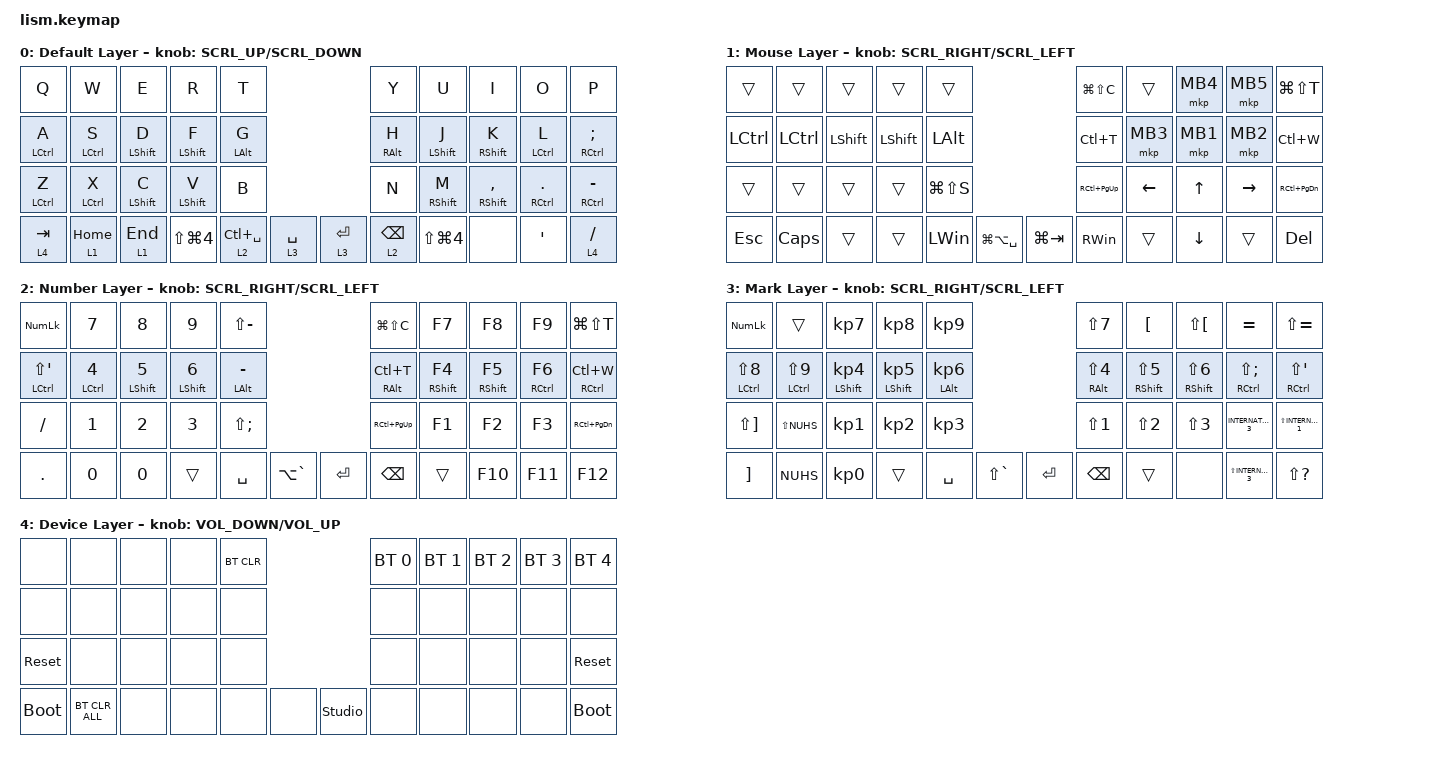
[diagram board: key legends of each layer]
#define ZMK_POINTING_DEFAULT_SCRL_VAL 200

#include <dt-bindings/zmk/mouse.h>
#include <behaviors.dtsi>
#include <dt-bindings/zmk/bt.h>
#include <dt-bindings/zmk/keys.h>
#include <dt-bindings/zmk/pointing.h>

&mt {
    tapping-term-ms = <300>;
    flavor = "balanced";
};

&lt { quick-tap-ms = <300>; };

/ {
    macros {
        DoubleCtrl: emoji_macro {
            compatible = "zmk,behavior-macro";
            label = "EMOJI";
            #binding-cells = <0>;
            bindings =
                <&macro_tap>,
                <&kp LCTRL>,
                <&macro_release>,
                <&macro_tap>,
                <&kp LCTRL>,
                <&macro_release>;
        };

        DoubleAlt: DoubleAlt {
            compatible = "zmk,behavior-macro";
            label = "DOUBLEALT";
            #binding-cells = <0>;
            bindings =
                <&macro_tap>,
                <&kp LEFT_ALT>,
                <&macro_release>,
                <&macro_tap>,
                <&kp LEFT_ALT>,
                <&macro_release>;
        };
    };

    behaviors {
        encoder_msc: sensor_rotate_msc {
            compatible = "zmk,behavior-sensor-rotate-var";
            #sensor-binding-cells = <2>;
            bindings = <&msc>, <&msc>;

            tap-ms = <20>;
        };

        encoder_kp: sensor_rotate_kp {
            compatible = "zmk,behavior-sensor-rotate-var";
            #sensor-binding-cells = <2>;
            bindings = <&kp>, <&kp>;
        };
    };

    keymap {
        compatible = "zmk,keymap";

        default_layer {
            display-name = "Default Layer";
            bindings = <
&kp Q        &kp W        &kp E             &kp R             &kp T                                        &kp Y            &kp U              &kp I                  &kp O           &kp P
&mt LCTRL A  &mt LCTRL S  &mt LSHIFT D      &mt LEFT_SHIFT F  &mt LEFT_ALT G                               &mt RIGHT_ALT H  &mt LEFT_SHIFT J   &mt RSHIFT K           &mt LCTRL L     &mt RCTRL SEMICOLON
&mt LCTRL Z  &mt LCTRL X  &mt LEFT_SHIFT C  &mt LEFT_SHIFT V  &kp B                                        &kp N            &mt RIGHT_SHIFT M  &mt RIGHT_SHIFT COMMA  &mt RCTRL DOT   &mt RCTRL MINUS
&lt 4 TAB    &lt 1 HOME   &lt 1 END         &kp LS(LG(N4))    &lt 2 LC(SPACE)  &lt 3 SPACE    &lt 3 ENTER  &lt 2 BACKSPACE  &kp LS(LG(N4))     &none                  &kp APOSTROPHE  &lt 4 SLASH
            >;

            sensor-bindings = <&encoder_msc SCRL_UP SCRL_DOWN>;
        };

        layer_1 {
            display-name = "Mouse Layer";
            bindings = <
&trans     &trans        &trans          &trans          &trans                                           &kp LG(LS(C))  &trans          &mkp MB4        &mkp MB5         &kp LG(LS(T))
&kp LCTRL  &kp LCTRL     &kp LEFT_SHIFT  &kp LEFT_SHIFT  &kp LEFT_ALT                                     &kp LC(T)      &mkp MB3        &mkp MB1        &mkp MB2         &kp LC(W)
&trans     &trans        &trans          &trans          &kp LG(LS(S))                                    &kp RC(PG_UP)  &kp LEFT_ARROW  &kp UP_ARROW    &kp RIGHT_ARROW  &kp RC(PAGE_DOWN)
&kp ESC    &kp CAPSLOCK  &trans          &trans          &kp LEFT_WIN   &kp LG(LA(SPACE))    &kp LG(TAB)  &kp RIGHT_WIN  &trans          &kp DOWN_ARROW  &trans           &kp DELETE
            >;

            sensor-bindings = <&encoder_msc SCRL_RIGHT SCRL_LEFT>;
        };

        layer_2 {
            display-name = "Number Layer";
            bindings = <
&kp KP_NUMLOCK     &kp NUMBER_7        &kp NUMBER_8         &kp NUMBER_9       &kp LS(MINUS)                                   &kp LG(LS(C))        &kp F7              &kp F8              &kp F9        &kp LG(LS(T))
&mt LCTRL LS(SQT)  &mt LCTRL NUMBER_4  &mt LSHIFT NUMBER_5  &mt LEFT_SHIFT N6  &mt LEFT_ALT MINUS                              &mt RIGHT_ALT LC(T)  &mt RIGHT_SHIFT F4  &mt RIGHT_SHIFT F5  &mt RCTRL F6  &mt RCTRL LC(W)
&kp SLASH          &kp NUMBER_1        &kp NUMBER_2         &kp NUMBER_3       &kp LS(SEMI)                                    &kp RC(PG_UP)        &kp F1              &kp F2              &kp F3        &kp RC(PAGE_DOWN)
&kp PERIOD         &kp NUMBER_0        &kp NUMBER_0         &trans             &kp SPACE           &kp LA(GRAVE)    &kp ENTER  &kp BACKSPACE        &trans              &kp F10             &kp F11       &kp F12
            >;

            sensor-bindings = <&encoder_msc SCRL_RIGHT SCRL_LEFT>;
        };

        layer_3 {
            display-name = "Mark Layer";
            bindings = <
&kp KP_NUM              &trans                  &kp KP_NUMBER_7             &kp KP_NUMBER_8             &kp KP_NUMBER_9                                       &kp LS(NUMBER_7)            &kp LBKT                      &kp LS(LBKT)                  &kp EQUAL                &kp LS(EQUAL)
&mt LCTRL LS(NUMBER_8)  &mt LCTRL LS(NUMBER_9)  &mt LEFT_SHIFT KP_NUMBER_4  &mt LEFT_SHIFT KP_NUMBER_5  &mt LEFT_ALT KP_NUMBER_6                              &mt RIGHT_ALT LS(NUMBER_4)  &mt RIGHT_SHIFT LS(NUMBER_5)  &mt RIGHT_SHIFT LS(NUMBER_6)  &mt RCTRL LS(SEMI)       &mt RCTRL LS(SQT)
&kp LS(RBKT)            &kp LS(NUHS)            &kp KP_NUMBER_1             &kp KP_NUMBER_2             &kp KP_NUMBER_3                                       &kp LS(NUMBER_1)            &kp LS(NUMBER_2)              &kp LS(NUMBER_3)              &kp INTERNATIONAL_3      &kp LS(INTERNATIONAL_1)
&kp RBKT                &kp NUHS                &kp KP_NUMBER_0             &trans                      &kp SPACE                 &kp LS(GRAVE)    &kp ENTER  &kp BACKSPACE               &trans                        &none                         &kp LS(INTERNATIONAL_3)  &kp LS(QUESTION)
            >;

            sensor-bindings = <&encoder_msc SCRL_RIGHT SCRL_LEFT>;
        };

        layer_4 {
            display-name = "Device Layer";
            bindings = <
&none        &none           &none  &none  &bt BT_CLR                           &bt BT_SEL 0  &bt BT_SEL 1  &bt BT_SEL 2  &bt BT_SEL 3  &bt BT_SEL 4
&none        &none           &none  &none  &none                                &none         &none         &none         &none         &none
&sys_reset   &none           &none  &none  &none                                &none         &none         &none         &none         &sys_reset
&bootloader  &bt BT_CLR_ALL  &none  &none  &none       &none    &studio_unlock  &none         &none         &none         &none         &bootloader
            >;

            sensor-bindings = <&inc_dec_kp C_VOLUME_DOWN C_VOLUME_UP>;
        };

        layer_5 {
            status = "reserved";
            display-name = "Brank Layer";
            bindings = <
&trans  &trans  &trans  &trans  &trans                    &trans  &trans  &trans  &trans  &trans
&trans  &trans  &trans  &trans  &trans                    &trans  &trans  &trans  &trans  &trans
&trans  &trans  &trans  &trans  &trans                    &trans  &trans  &trans  &trans  &trans
&trans  &trans  &trans  &trans  &trans  &trans    &trans  &trans  &trans  &trans  &trans  &trans
            >;
        };

        layer_6 {
            status = "reserved";
            display-name = "Brank Layer";
            bindings = <
&trans  &trans  &trans  &trans  &trans                    &trans  &trans  &trans  &trans  &trans
&trans  &trans  &trans  &trans  &trans                    &trans  &trans  &trans  &trans  &trans
&trans  &trans  &trans  &trans  &trans                    &trans  &trans  &trans  &trans  &trans
&trans  &trans  &trans  &trans  &trans  &trans    &trans  &trans  &trans  &trans  &trans  &trans
            >;
        };

        layer_7 {
            status = "reserved";
            display-name = "Brank Layer";
            bindings = <
&trans  &trans  &trans  &trans  &trans                    &trans  &trans  &trans  &trans  &trans
&trans  &trans  &trans  &trans  &trans                    &trans  &trans  &trans  &trans  &trans
&trans  &trans  &trans  &trans  &trans                    &trans  &trans  &trans  &trans  &trans
&trans  &trans  &trans  &trans  &trans  &trans    &trans  &trans  &trans  &trans  &trans  &trans
            >;
        };
    };
};
